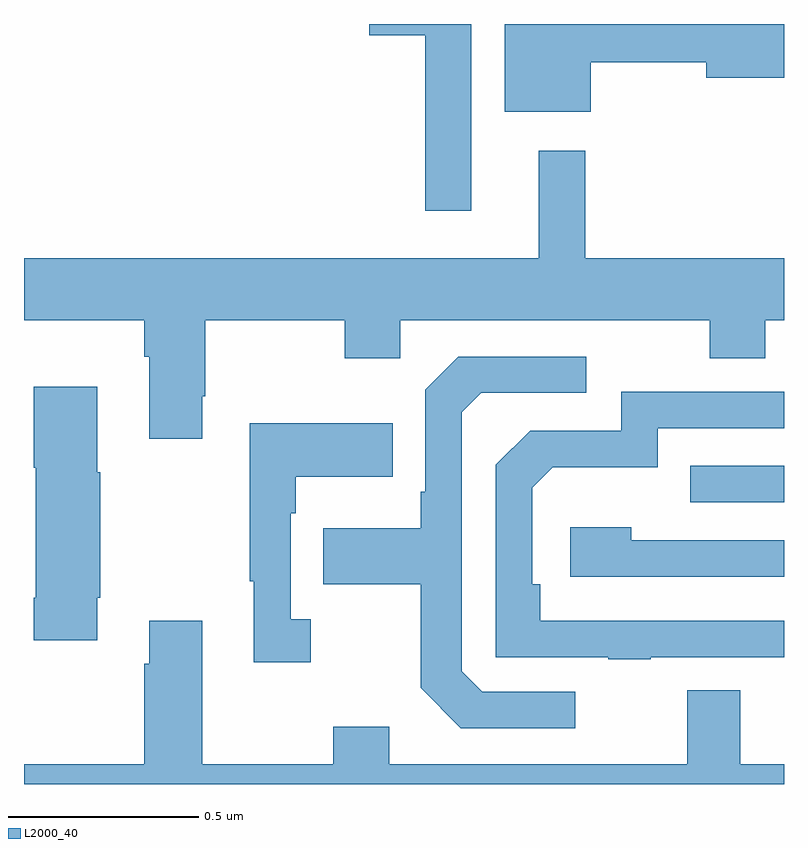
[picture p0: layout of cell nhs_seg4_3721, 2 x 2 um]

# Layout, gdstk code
import gdstk
lib = gdstk.Library(unit=1e-6, precision=1e-09)
def R(c, l, rs):  # rectangles x0, y0, x1, y1
    for r in rs: c.add(gdstk.rectangle(r[:2], r[2:], *l))
def P(c, l, *ps):  # polygons
    for p in ps: c.add(gdstk.Polygon(p, *l))
L2000_40 = (2000, 40)

nhs_seg4_3721 = lib.new_cell('nhs_seg4_3721')
R(nhs_seg4_3721, L2000_40, [(157.753,829.641,158,829.737)])
P(nhs_seg4_3721, L2000_40, [(157.177,830.9),(156.908,830.9),(156.908,830.87),(157.056,830.87),(157.056,830.409),(157.177,830.409)],
  [(157.492,830.8),(157.796,830.8),(157.796,830.758),(158,830.758),(158,830.9),(157.265,830.9),(157.265,830.669),(157.492,830.669)],
  [(156.469,829.921),(156.477,829.921),(156.477,830.12),(156.844,830.12),(156.844,830.021),(156.99,830.021),(156.99,830.12),(157.804,830.12),(157.804,830.021),(157.951,830.021),(157.951,830.12),(158,830.12),(158,830.284),(157.477,830.284),(157.477,830.566),(157.355,830.566),(157.355,830.284),(156,830.284),(156,830.12),(156.317,830.12),(156.317,830.024),(156.329,830.024),(156.329,829.809),(156.469,829.809)],
  [(157.45,829.143),(157.206,829.143),(157.152,829.197),(157.152,829.878),(157.203,829.929),(157.48,829.929),(157.48,830.025),(157.143,830.025),(157.056,829.938),(157.056,829.669),(157.044,829.669),(157.044,829.573),(156.787,829.573),(156.787,829.426),(157.044,829.426),(157.044,829.153),(157.149,829.047),(157.45,829.047)],
  [(156.193,829.39),(156.201,829.39),(156.201,829.721),(156.193,829.721),(156.193,829.945),(156.026,829.945),(156.026,829.732),(156.031,829.732),(156.031,829.39),(156.026,829.39),(156.026,829.278),(156.193,829.278)],
  [(157.649,829.233),(158,829.233),(158,829.329),(157.358,829.329),(157.358,829.426),(157.338,829.426),(157.338,829.68),(157.391,829.733),(157.668,829.733),(157.668,829.836),(158,829.836),(158,829.932),(157.572,829.932),(157.572,829.83),(157.332,829.83),(157.242,829.74),(157.242,829.233),(157.537,829.233),(157.537,829.228),(157.649,829.228)],
  [(156.754,829.334),(156.702,829.334),(156.702,829.613),(156.715,829.613),(156.715,829.709),(156.971,829.709),(156.971,829.849),(156.594,829.849),(156.594,829.433),(156.605,829.433),(156.605,829.221),(156.754,829.221)],
  [(158,829.542),(157.598,829.542),(157.598,829.576),(157.437,829.576),(157.437,829.446),(158,829.446)],
  [(158,828.952),(157.885,828.952),(157.885,829.147),(157.745,829.147),(157.745,828.952),(156.961,828.952),(156.961,829.051),(156.814,829.051),(156.814,828.952),(156.469,828.952),(156.469,829.33),(156.329,829.33),(156.329,829.217),(156.317,829.217),(156.317,828.952),(156,828.952),(156,828.9),(158,828.9)])

lib.write_gds('nhs_seg4_3721.gds')
